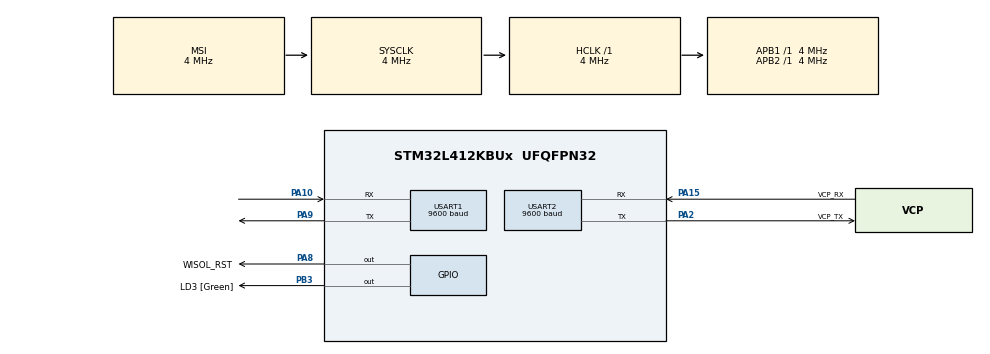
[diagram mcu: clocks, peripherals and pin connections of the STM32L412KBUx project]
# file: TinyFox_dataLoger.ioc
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Mcu.Family=STM32L4
Mcu.Name=STM32L412KBUx
Mcu.Package=UFQFPN32
NVIC.PriorityGroup=NVIC_PRIORITYGROUP_4
PA0-CK_IN.Mode=HSE-External-Clock-Source-for-LittleOrca
PA0-CK_IN.Signal=RCC_CK_IN
PA10.Mode=Asynchronous
PA10.Signal=USART1_RX
PA13\ (JTMS/SWDIO).GPIO_Label=SWDIO
PA13\ (JTMS/SWDIO).Mode=Serial_Wire
PA13\ (JTMS/SWDIO).Signal=SYS_JTMS-SWDIO
PA14\ (JTCK/SWCLK).GPIO_Label=SWCLK
PA14\ (JTCK/SWCLK).Mode=Serial_Wire
PA14\ (JTCK/SWCLK).Signal=SYS_JTCK-SWCLK
PA15\ (JTDI).GPIO_Label=VCP_RX
PA15\ (JTDI).Mode=Asynchronous
PA15\ (JTDI).Signal=USART2_RX
PA2.GPIO_Label=VCP_TX
PA2.Mode=Asynchronous
PA2.Signal=USART2_TX
PA8.GPIO_Label=WISOL_RST
PA8.Signal=GPIO_Output
PA9.Mode=Asynchronous
PA9.Signal=USART1_TX
PB3\ (JTDO/TRACESWO).GPIO_Label=LD3 [Green]
PB3\ (JTDO/TRACESWO).Signal=GPIO_Output
PC14-OSC32_IN\ (PC14).Mode=LSE-External-Oscillator
PC14-OSC32_IN\ (PC14).Signal=RCC_OSC32_IN
PC15-OSC32_OUT\ (PC15).Mode=LSE-External-Oscillator
PC15-OSC32_OUT\ (PC15).Signal=RCC_OSC32_OUT
ProjectManager.HeapSize=0x200
ProjectManager.StackSize=0x400
ProjectManager.TargetToolchain=STM32CubeIDE
RCC.ADCFreq_Value=4000000
RCC.AHBFreq_Value=4000000
RCC.APB1Freq_Value=4000000
RCC.APB1TimFreq_Value=4000000
RCC.APB2Freq_Value=4000000
RCC.APB2TimFreq_Value=4000000
RCC.CortexFreq_Value=4000000
RCC.FLatency=FLASH_LATENCY_0
RCC.HCLKFreq_Value=4000000
RCC.HSE_VALUE=8000000
RCC.HSI48_VALUE=48000000
RCC.HSICalibrationValue=16
RCC.HSI_VALUE=16000000
RCC.MSI_VALUE=4000000
RCC.SYSCLKFreq_VALUE=4000000
RCC.USBFreq_Value=4000000
RCC.VCOOutputFreq_Value=32000000
USART1.BaudRate=9600
USART1.VirtualMode-Asynchronous=VM_ASYNC
USART2.BaudRate=9600
USART2.VirtualMode-Asynchronous=VM_ASYNC
board=NUCLEO-L412KB

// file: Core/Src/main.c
/* USER CODE BEGIN Header */
/**
  ******************************************************************************
  * @file           : main.c
  * @brief          : Main program body
  ******************************************************************************
  * @attention
  *
  * Copyright (c) 2023 STMicroelectronics.
  * All rights reserved.
  *
  * This software is licensed under terms that can be found in the LICENSE file
  * in the root directory of this software component.
  * If no LICENSE file comes with this software, it is provided AS-IS.
  *
  ******************************************************************************
  */
/* USER CODE END Header */
#include "main.h"
#include "usart.h"
#include "gpio.h"

/* USER CODE BEGIN Includes */
#include <stdbool.h>
#include <string.h>
#include <stdarg.h>
#include <stdlib.h>
#include <stdio.h>
/* USER CODE END Includes */

/* USER CODE BEGIN PTD */
typedef struct{
	uint32_t sensor;
	uint8_t status;
	uint16_t bat;
}DataTx_t;

typedef struct{
	uint8_t periodo;
	uint8_t dowlink;
	struct{
		uint8_t rsv : 3;
		uint8_t modo: 2;
		uint8_t relay2 : 1;
		uint8_t relay1 : 1;
		uint8_t LED : 1;
	}estados;
}DataRx_t;
/* USER CODE END PTD */

/* USER CODE BEGIN PD */
#define BUFER_SIZE              40
#define UPLINK                  0
#define DOWNLINK                1
#define L_UPLINK                2
/* USER CODE END PD */

/* USER CODE BEGIN PV */

char rxdata[BUFER_SIZE];
char cadena[BUFER_SIZE];
uint8_t countchar = 0;
uint32_t timout = 0;
DataTx_t dataTx;
DataRx_t *dataRx;
uint32_t lastmsg;
/* USER CODE END PV */

void SystemClock_Config(void);
/* USER CODE BEGIN PFP */
void recepcion(char val_caracter)
{
   cadena[countchar]=val_caracter;
   countchar++;
   if(countchar >= BUFER_SIZE)  //caso de error de recepcion
   {
      countchar=0;
   }
   if (val_caracter == 0x0A){
      memset(rxdata, 0, BUFER_SIZE);
      for(int k=0; k<=countchar; k++){
         rxdata[k]=cadena[k];;
      }
      memset(cadena, 0, BUFER_SIZE);
   }
}
void WISOL_Printf(char *format, ...){
	char str[80];

	va_list args;
	va_start(args, format);
	vsprintf(str, format, args);
	HAL_UART_Transmit(&huart1, (uint8_t*)str, strlen(str), 1000);
	va_end(args);
}

bool wait_for_data(uint32_t t_wait_ms){
   char ch = '\0';
   timout = HAL_GetTick();
   countchar=0;
   do{
      //se verifica si se tien un bit disponible
      if(USART1->ISR & USART_ISR_RXNE){
         ch = USART1->RDR;
         recepcion(ch);					//QUEUE
      }
      //se verifica el timout
      if((HAL_GetTick() - timout)>t_wait_ms){
         printf( "NoDAT\r\n");
         memset(cadena, 0, BUFER_SIZE);
         memset(rxdata, 0, BUFER_SIZE);
         break;
      }

   }while (ch != 0x0A);

   //se retorna el resultado
   if(ch == 0x0A){
      return true;
   }else{
      return false;
   }
}
void CMD_ID(void){
	char str[30] = "AT$SL=";
    char id[9] = {'\0'};
    uint8_t i;
	WISOL_Printf("AT$I=10\r\n");
	if(wait_for_data(4000)){
		printf("ID:%s",rxdata);
        for(i = 0; i<8; i++){id[i]=rxdata[i];}
        //dataTx.ID = hexstr2int32(id);
		strcat(str,(char*)rxdata);
		printf("%s",str);
		WISOL_Printf("%s",str);
		if(wait_for_data(30000)){
			printf("%s",rxdata);
		}
	}else{
		//todo

	}

}

void CMD_PAC(void){
	char str[30] = "AT$SL=";
	WISOL_Printf("AT$I=11\r\n");
	if(wait_for_data( 4000)){
		printf("PAC:%s",rxdata);
		strcat(str,(char*)rxdata);
		printf("%s",str);
		WISOL_Printf("%s",str);
		if(wait_for_data( 30000)){
			printf("%s",rxdata);
		}
	}else{
        printf("Error PAC\r\n");
	}
}

void CMD_AT(void){
	WISOL_Printf("AT\r\n");
	if(wait_for_data(2000)){
		//todo
		printf("WISOL->%s\r\n", rxdata);
	}else{
        printf("Error Wisol\n\n");
	}
	return;
}

void CMD_POWER_MODE(int val_pwr){
   if(val_pwr>=5) return ;

   if(val_pwr == 2){

        HAL_Delay(50);
        WISOL_Printf("AT$P=%u\r\n",val_pwr);
        wait_for_data(10000);
        HAL_Delay(50);
        HAL_GPIO_WritePin(WISOL_RST_GPIO_Port, WISOL_RST_Pin, GPIO_PIN_RESET);
        HAL_Delay(50);
   }
   if(val_pwr == 4){
        HAL_GPIO_WritePin(WISOL_RST_GPIO_Port, WISOL_RST_Pin, GPIO_PIN_SET);
        HAL_Delay(50);
        HAL_GPIO_WritePin(WISOL_RST_GPIO_Port, WISOL_RST_Pin, GPIO_PIN_RESET);
        HAL_Delay(80);
        HAL_GPIO_WritePin(WISOL_RST_GPIO_Port, WISOL_RST_Pin, GPIO_PIN_SET);
        HAL_Delay(80);
    }
}

uint16_t CMD_BAT(void){
	uint16_t bat;

	unsigned char ch = 0;
    countchar = 0;
    timout = HAL_GetTick();
    memset(rxdata, 0, BUFER_SIZE);
    memset(cadena, 0, BUFER_SIZE);
    WISOL_Printf("AT$V?\r\n");
    do{
       if(USART1->ISR & USART_ISR_RXNE){
          ch = USART1->RDR;
          cadena[countchar] = ch;
          countchar++;
       }
       if((HAL_GetTick() - timout)>5000){
          memset(rxdata, 0, BUFER_SIZE);
          memset(cadena, 0, BUFER_SIZE);
          break;
       }
    }while( ch != 0x0A);
    countchar = 0;
    //timout = HAL_GetTick();
    do{
       if(USART1->ISR & USART_ISR_RXNE){
          ch = USART1->RDR;
          rxdata[countchar] = ch;
          countchar++;
       }
       if((HAL_GetTick() - timout)>5000){
          memset(rxdata, 0, BUFER_SIZE);
          memset(cadena, 0, BUFER_SIZE);
          break;
       }
    }while (ch != 0x0A);
    bat = atol(cadena);
    LPUART1->CR1 &=~ USART_CR1_UE;
    HAL_Delay(50);
    LPUART1->CR1 |=USART_CR1_UE;
    return bat;
}
void send_uplink(void){
	//se enciende la wisol
	CMD_POWER_MODE(4);
	HAL_Delay(100);
	CMD_AT();
	WISOL_Printf("AT$RC\r\n");
	wait_for_data(10000);
	//dataTx.bat = CMD_BAT();
	HAL_Delay(100);
	printf("uplink\r\n");
	//WISOL_Printf("AT$SF=%08X%%02X%04X\r\n", dataTx.sensor, dataTx.status, dataTx.bat);
	WISOL_Printf("AT$SL=%08X%X%X\r\n", dataTx.sensor, dataTx.status, dataTx.bat);
	if(wait_for_data(30000)){
		printf("datos envidos->%s", rxdata);
	}else{
		printf("error send data\r\n");
	}
	CMD_POWER_MODE(2);
	return;
}
/* USER CODE END PFP */

int main(void)
{

  /* MCU Configuration--------------------------------------------------------*/

  /* Reset of all peripherals, Initializes the Flash interface and the Systick. */
  HAL_Init();

  /* Configure the system clock */
  SystemClock_Config();

  /* Initialize all configured peripherals */
  MX_GPIO_Init();
  MX_USART2_UART_Init();
  MX_USART1_UART_Init();
  /* USER CODE BEGIN 2 */
  CMD_POWER_MODE(4);			//enciende la wisool
  HAL_Delay(400);
  CMD_ID();
  HAL_Delay(100);
  CMD_PAC();
  /* USER CODE END 2 */
  lastmsg = HAL_GetTick();
  /* Infinite loop */
  while (1)
  {

    /* USER CODE BEGIN 3 */
	  if((HAL_GetTick() - lastmsg)>20000){
		  send_uplink();
		  dataTx.sensor ++;
		  lastmsg = HAL_GetTick();
	  }
  }
  /* USER CODE END 3 */
}

void SystemClock_Config(void)
{
  RCC_OscInitTypeDef RCC_OscInitStruct = {0};
  RCC_ClkInitTypeDef RCC_ClkInitStruct = {0};

  /** Configure the main internal regulator output voltage
  */
  if (HAL_PWREx_ControlVoltageScaling(PWR_REGULATOR_VOLTAGE_SCALE1) != HAL_OK)
  {
    Error_Handler();
  }

  /** Configure LSE Drive Capability
  */
  HAL_PWR_EnableBkUpAccess();
  __HAL_RCC_LSEDRIVE_CONFIG(RCC_LSEDRIVE_LOW);

  /** Initializes the RCC Oscillators according to the specified parameters
  * in the RCC_OscInitTypeDef structure.
  */
  RCC_OscInitStruct.OscillatorType = RCC_OSCILLATORTYPE_LSE|RCC_OSCILLATORTYPE_MSI;
  RCC_OscInitStruct.LSEState = RCC_LSE_ON;
  RCC_OscInitStruct.MSIState = RCC_MSI_ON;
  RCC_OscInitStruct.MSICalibrationValue = 0;
  RCC_OscInitStruct.MSIClockRange = RCC_MSIRANGE_6;
  RCC_OscInitStruct.PLL.PLLState = RCC_PLL_NONE;
  if (HAL_RCC_OscConfig(&RCC_OscInitStruct) != HAL_OK)
  {
    Error_Handler();
  }

  /** Initializes the CPU, AHB and APB buses clocks
  */
  RCC_ClkInitStruct.ClockType = RCC_CLOCKTYPE_HCLK|RCC_CLOCKTYPE_SYSCLK
                              |RCC_CLOCKTYPE_PCLK1|RCC_CLOCKTYPE_PCLK2;
  RCC_ClkInitStruct.SYSCLKSource = RCC_SYSCLKSOURCE_MSI;
  RCC_ClkInitStruct.AHBCLKDivider = RCC_SYSCLK_DIV1;
  RCC_ClkInitStruct.APB1CLKDivider = RCC_HCLK_DIV1;
  RCC_ClkInitStruct.APB2CLKDivider = RCC_HCLK_DIV1;

  if (HAL_RCC_ClockConfig(&RCC_ClkInitStruct, FLASH_LATENCY_0) != HAL_OK)
  {
    Error_Handler();
  }

  /** Enable MSI Auto calibration
  */
  HAL_RCCEx_EnableMSIPLLMode();
}

/* USER CODE BEGIN 4 */
int __io_putchar(int ch){
	uint8_t c = ch & 0xFF;
	HAL_UART_Transmit(&huart2, &c, 1, 1);
	return ch;
}
/* USER CODE END 4 */

void Error_Handler(void)
{
  __disable_irq();
  while (1)
  {
  }
}
